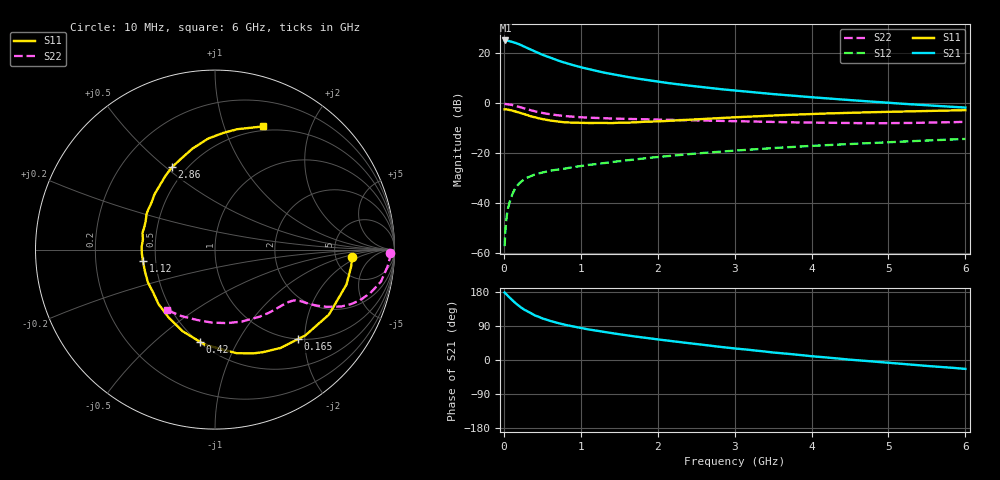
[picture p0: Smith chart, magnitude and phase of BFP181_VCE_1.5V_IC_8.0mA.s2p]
! Infineon Technologies  Discrete & RF Semiconductors
! BFP181
! VCE = 1.5 V,  IC =  8.0 mA
! Common Emitter S-Parameters:  Jan 2016
# GHz  S  MA  R  50
!  f  S11  S21  S12  S22
! GHz  MAG  ANG  MAG  ANG  MAG  ANG  MAG  ANG
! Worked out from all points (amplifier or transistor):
!   210 points, 10 MHz to 6 GHz, reference 50 ohm
!   highest |S21| = 25.2 dB at 20 MHz (marker M1)
!   |S21| within 3 dB of that: start of sweep to 305.6 MHz
!   unconditionally stable (mu >= 1): 1.049 GHz to end of sweep
!   at 185 MHz: K = 0.27, MSG = 28.2 dB, |S12| = -32.5 dB
!   at 1.52 GHz: K = 1.16, MAG = 14.6 dB, |S12| = -23.0 dB
!   at 6 GHz: K = 1.05, MAG = 4.9 dB, |S12| = -14.2 dB
!   S11 on the Smith chart (normalised r, x): 10 MHz: 7.16, -1.42; 165 MHz: 1.00, -1.85; 420 MHz: 0.51, -0.72; 1.12 GHz: 0.42, -0.06; 2.86 GHz: 0.42, +0.53; 6 GHz: 0.45, +1.36
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0.01  0.7633 -3.1  18.14 178.0  0.0014 79.3  0.9744 -1.0
0.02  0.765 -6.6  18.22 176.2  0.0029 80.5  0.9776 -2.2
0.05  0.758 -14.9  18.08 169.5  0.0075 87.1  0.9655 -5.7
0.1  0.7309 -29.7  17.2 159.7  0.0139 74.4  0.9412 -11.0
0.15  0.6943 -43.5  16.34 150.2  0.0202 67.9  0.8988 -15.6
0.165  0.6799 -47.2  15.99 147.9  0.0217 66.6  0.8853 -16.7
0.2  0.6583 -56.4  15.29 142.0  0.0252 64.2  0.8549 -19.3
0.26  0.6169 -69.5  13.84 133.6  0.0299 58.9  0.8015 -22.7
0.3  0.5897 -78.2  13.02 128.8  0.0326 55.8  0.7687 -24.4
0.42  0.5207 -99.1  10.73 116.5  0.0386 50.4  0.6872 -27.5
0.5  0.4893 -111.6  9.446 109.8  0.0416 48.0  0.6457 -28.9
0.7  0.4372 -136.0  7.225 97.6  0.0477 45.7  0.58 -30.5
0.8  0.419 -145.5  6.487 92.6  0.05 44.9  0.559 -31.0
1.02  0.4079 -164.0  5.219 83.8  0.0564 45.2  0.5284 -32.5
1.12  0.4067 -171.3  4.802 80.1  0.0595 45.1  0.5189 -33.3
1.5  0.4149 167.0  3.631 67.9  0.0701 45.2  0.4954 -36.9
2.02  0.4394 143.9  2.705 53.9  0.0852 44.0  0.4754 -43.6
2.86  0.5166 117.5  1.907 33.6  0.11 40.2  0.4467 -57.2
3.1  0.537 111.4  1.757 28.6  0.1168 38.9  0.4377 -61.6
4.1  0.6251 92.0  1.299 8.4  0.1445 32.0  0.4122 -82.9
5.1  0.6869 78.2  1.007 -9.1  0.1703 25.0  0.405 -106.7
6  0.7353 68.9  0.828 -23.4  0.1953 18.2  0.4298 -128.2
